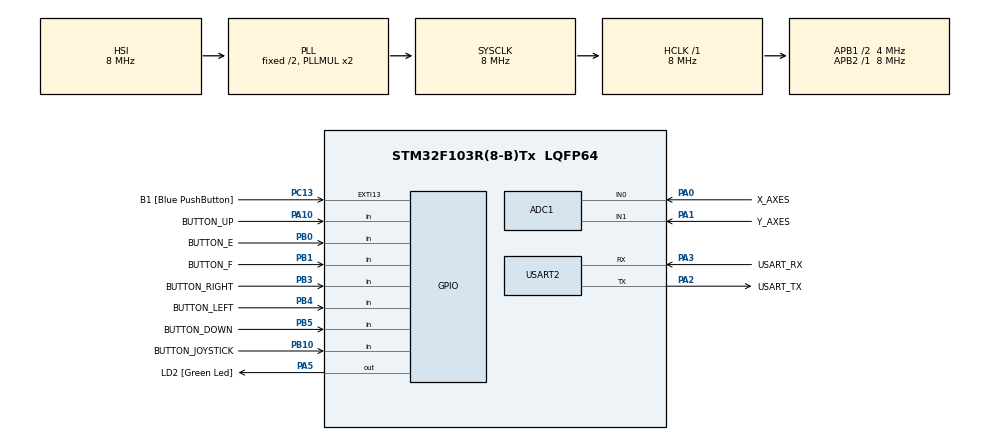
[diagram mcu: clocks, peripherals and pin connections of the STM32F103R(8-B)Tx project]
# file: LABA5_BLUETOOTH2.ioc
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ADC1.Channel-3\#ChannelRegularConversion=ADC_CHANNEL_0
ADC1.NbrOfConversionFlag=1
ADC1.Rank-3\#ChannelRegularConversion=1
ADC1.SamplingTime-3\#ChannelRegularConversion=ADC_SAMPLETIME_1CYCLE_5
ADC1.master=1
Dma.ADC1.1.Direction=DMA_PERIPH_TO_MEMORY
Dma.ADC1.1.Instance=DMA1_Channel1
Dma.ADC1.1.MemDataAlignment=DMA_MDATAALIGN_HALFWORD
Dma.ADC1.1.MemInc=DMA_MINC_ENABLE
Dma.ADC1.1.Mode=DMA_NORMAL
Dma.ADC1.1.PeriphDataAlignment=DMA_PDATAALIGN_HALFWORD
Dma.ADC1.1.PeriphInc=DMA_PINC_DISABLE
Dma.ADC1.1.Priority=DMA_PRIORITY_LOW
Dma.Request0=USART2_TX
Dma.Request1=ADC1
Dma.USART2_TX.0.Direction=DMA_MEMORY_TO_PERIPH
Dma.USART2_TX.0.Instance=DMA1_Channel7
Dma.USART2_TX.0.MemDataAlignment=DMA_MDATAALIGN_BYTE
Dma.USART2_TX.0.MemInc=DMA_MINC_ENABLE
Dma.USART2_TX.0.Mode=DMA_NORMAL
Dma.USART2_TX.0.PeriphDataAlignment=DMA_PDATAALIGN_BYTE
Dma.USART2_TX.0.PeriphInc=DMA_PINC_DISABLE
Dma.USART2_TX.0.Priority=DMA_PRIORITY_LOW
Mcu.Family=STM32F1
Mcu.Name=STM32F103R(8-B)Tx
Mcu.Package=LQFP64
NVIC.ADC1_2_IRQn=true\:0\:0\:false\:false\:true\:true\:true\:true
NVIC.DMA1_Channel1_IRQn=true\:0\:0\:false\:false\:true\:false\:true\:true
NVIC.DMA1_Channel7_IRQn=true\:0\:0\:false\:false\:true\:false\:true\:true
NVIC.EXTI15_10_IRQn=true\:0\:0\:false\:false\:true\:true\:true\:true
NVIC.PriorityGroup=NVIC_PRIORITYGROUP_4
NVIC.USART2_IRQn=true\:0\:0\:false\:false\:true\:true\:true\:true
PA0-WKUP.GPIO_Label=X_AXES
PA0-WKUP.Signal=ADCx_IN0
PA1.GPIO_Label=Y_AXES
PA1.Signal=ADCx_IN1
PA10.GPIO_Label=BUTTON_UP
PA10.GPIO_PuPd=GPIO_PULLUP
PA10.Signal=GPIO_Input
PA2.GPIO_Label=USART_TX
PA2.GPIO_Mode=GPIO_MODE_AF_PP
PA2.GPIO_PuPd=GPIO_NOPULL
PA2.GPIO_Speed=GPIO_SPEED_FREQ_LOW
PA2.Mode=Asynchronous
PA2.Signal=USART2_TX
PA3.GPIO_Label=USART_RX
PA3.GPIO_Mode=GPIO_MODE_AF_PP
PA3.GPIO_PuPd=GPIO_NOPULL
PA3.GPIO_Speed=GPIO_SPEED_FREQ_LOW
PA3.Mode=Asynchronous
PA3.Signal=USART2_RX
PA5.GPIO_Label=LD2 [Green Led]
PA5.GPIO_ModeDefaultOutputPP=GPIO_MODE_OUTPUT_PP
PA5.GPIO_PuPd=GPIO_NOPULL
PA5.GPIO_Speed=GPIO_SPEED_FREQ_LOW
PA5.Signal=GPIO_Output
PB0.GPIO_Label=BUTTON_E
PB0.GPIO_PuPd=GPIO_PULLUP
PB0.Signal=GPIO_Input
PB1.GPIO_Label=BUTTON_F
PB1.GPIO_PuPd=GPIO_PULLUP
PB1.Signal=GPIO_Input
PB10.GPIO_Label=BUTTON_JOYSTICK
PB10.GPIO_PuPd=GPIO_PULLUP
PB10.Signal=GPIO_Input
PB3.GPIO_Label=BUTTON_RIGHT
PB3.GPIO_PuPd=GPIO_PULLUP
PB3.Signal=GPIO_Input
PB4.GPIO_Label=BUTTON_LEFT
PB4.GPIO_PuPd=GPIO_PULLUP
PB4.Signal=GPIO_Input
PB5.GPIO_Label=BUTTON_DOWN
PB5.GPIO_PuPd=GPIO_PULLUP
PB5.Signal=GPIO_Input
PC13-TAMPER-RTC.GPIO_Label=B1 [Blue PushButton]
PC13-TAMPER-RTC.GPIO_PuPd=GPIO_NOPULL
PC13-TAMPER-RTC.Signal=GPXTI13
ProjectManager.HeapSize=0x200
ProjectManager.StackSize=0x400
ProjectManager.TargetToolchain=MDK-ARM V5.32
RCC.AHBFreq_Value=8000000
RCC.APB1CLKDivider=RCC_HCLK_DIV2
RCC.APB1Freq_Value=4000000
RCC.APB1TimFreq_Value=8000000
RCC.APB2Freq_Value=8000000
RCC.APB2TimFreq_Value=8000000
RCC.HCLKFreq_Value=8000000
RCC.RTCClockSelection=RCC_RTCCLKSOURCE_LSE
RCC.SYSCLKFreq_VALUE=8000000
RCC.SYSCLKSource=RCC_SYSCLKSOURCE_PLLCLK
RCC.USBFreq_Value=8000000
SH.ADCx_IN0.0=ADC1_IN0,IN0
SH.ADCx_IN1.0=ADC1_IN1,IN1
TIM2.Period=1632
TIM2.TIM_MasterOutputTrigger=TIM_TRGO_UPDATE
TIM2.TIM_MasterSlaveMode=TIM_MASTERSLAVEMODE_DISABLE
USART2.VirtualMode=VM_ASYNC
VP_SYS_VS_ND.Mode=No_Debug
VP_TIM2_VS_ClockSourceINT.Mode=Internal
board=NUCLEO-F103RB

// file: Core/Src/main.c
/* USER CODE BEGIN Header */
/**
  ******************************************************************************
  * @file           : main.c
  * @brief          : Main program body with DEBUG
  ******************************************************************************
  */
/* USER CODE END Header */
#include "main.h"

/* USER CODE BEGIN Includes */
#include <stdio.h>
#include <string.h>
/* USER CODE END Includes */

/* USER CODE BEGIN PD */
#define DEBUG_ENABLED 1
/* USER CODE END PD */

ADC_HandleTypeDef hadc1;
DMA_HandleTypeDef hdma_adc1;

TIM_HandleTypeDef htim2;

UART_HandleTypeDef huart2;
DMA_HandleTypeDef hdma_usart2_tx;

/* USER CODE BEGIN PV */
uint16_t adc_buffer[2] = {0, 0};
char uart_buf[128];
volatile uint32_t dma_complete_count = 0;
volatile uint32_t loop_count = 0;
volatile uint8_t adc_dma_error = 0;
/* USER CODE END PV */

void SystemClock_Config(void);
static void MX_GPIO_Init(void);
static void MX_DMA_Init(void);
static void MX_USART2_UART_Init(void);
static void MX_ADC1_Init(void);
static void MX_TIM2_Init(void);
/* USER CODE BEGIN PFP */
void Debug_LED_Blink(uint8_t times, uint32_t delay_ms);
void Debug_SendString(const char* str);
void Debug_SendStatus(void);
/* USER CODE END PFP */

/* USER CODE BEGIN 0 */

// ??????? LED ??? ???????
void Debug_LED_Blink(uint8_t times, uint32_t delay_ms)
{
    for(uint8_t i = 0; i < times; i++)
    {
        HAL_GPIO_WritePin(LD2_GPIO_Port, LD2_Pin, GPIO_PIN_SET);
        HAL_Delay(delay_ms);
        HAL_GPIO_WritePin(LD2_GPIO_Port, LD2_Pin, GPIO_PIN_RESET);
        HAL_Delay(delay_ms);
    }
}

// ???????? ?????? ????? UART (???????????)
void Debug_SendString(const char* str)
{
    HAL_UART_Transmit(&huart2, (uint8_t*)str, strlen(str), 500);
}

// ???????? ??????? ???????
void Debug_SendStatus(void)
{
    char buf[200];
    int len = snprintf(buf, sizeof(buf),
        "[DEBUG] Loop:%lu DMA_Done:%lu ADC_Err:%d ADC_State:%d DMA_State:%d RAW_ADC0:%u RAW_ADC1:%u\r\n",
        loop_count,
        dma_complete_count,
        adc_dma_error,
        (int)HAL_ADC_GetState(&hadc1),
        (int)HAL_DMA_GetState(&hdma_adc1),
        adc_buffer[0],
        adc_buffer[1]
    );
    HAL_UART_Transmit(&huart2, (uint8_t*)buf, len, 500);
}

int16_t transform_axe(int v)
{
    int32_t centered = v - 2048;
    int32_t scaled = centered * 100 / 2048;
    return (int16_t)scaled;
}

void Send_Data(void)
{
    int len = snprintf(uart_buf, sizeof(uart_buf),
        "X=%d;Y=%d;E=%d;F=%d;JS=%d;UP=%d;RIGHT=%d;LEFT=%d;DOWN=%d\r\n",
        transform_axe(adc_buffer[0]),
        transform_axe(adc_buffer[1]),
        HAL_GPIO_ReadPin(GPIOB, BUTTON_E_Pin) == GPIO_PIN_RESET ? 1 : 0,
        HAL_GPIO_ReadPin(GPIOB, BUTTON_F_Pin) == GPIO_PIN_RESET ? 1 : 0,
        HAL_GPIO_ReadPin(GPIOB, BUTTON_JOYSTICK_Pin) == GPIO_PIN_RESET ? 1 : 0,
        HAL_GPIO_ReadPin(GPIOA, BUTTON_UP_Pin) == GPIO_PIN_RESET ? 1 : 0,
        HAL_GPIO_ReadPin(GPIOB, BUTTON_RIGHT_Pin) == GPIO_PIN_RESET ? 1 : 0,
        HAL_GPIO_ReadPin(GPIOB, BUTTON_LEFT_Pin) == GPIO_PIN_RESET ? 1 : 0,
        HAL_GPIO_ReadPin(GPIOB, BUTTON_DOWN_Pin) == GPIO_PIN_RESET ? 1 : 0
    );

    HAL_StatusTypeDef status = HAL_UART_Transmit(&huart2, (uint8_t*)uart_buf, len, 100);

    // ???? UART ?????? ?????? - ??????? ???????
    if(status != HAL_OK)
    {
        Debug_LED_Blink(10, 50);
    }
}

// Callback ????? DMA ???????? ???????? (???????? ??????)
void HAL_ADC_ConvHalfCpltCallback(ADC_HandleTypeDef* hadc)
{
    // ?? ??????????, ?? ????? ???????? ???????
}

// Callback ????? DMA ???????? ?????? ????????
void HAL_ADC_ConvCpltCallback(ADC_HandleTypeDef* hadc)
{
    if(hadc->Instance == ADC1)
    {
        dma_complete_count++;
    }
}

// Callback ??? ?????? ADC
void HAL_ADC_ErrorCallback(ADC_HandleTypeDef *hadc)
{
    adc_dma_error = 1;
}

/* USER CODE END 0 */

int main(void)
{
  /* USER CODE BEGIN 1 */
  HAL_StatusTypeDef status;
  /* USER CODE END 1 */

  /* MCU Configuration--------------------------------------------------------*/

  /* Reset of all peripherals, Initializes the Flash interface and the Systick. */
  HAL_Init();

  /* Configure the system clock */
  SystemClock_Config();

  /* Initialize all configured peripherals */
  MX_GPIO_Init();
  MX_DMA_Init();
  MX_USART2_UART_Init();

  /* USER CODE BEGIN 2 */
  // === ???? 1: ??????? ????????????? ?????? ===
  Debug_LED_Blink(2, 200);  // 2 ??????? = GPIO + DMA + UART ??????

  Debug_SendString("\r\n\r\n");
  Debug_SendString("================================\r\n");
  Debug_SendString("=== STM32 GAMEPAD CONTROLLER ===\r\n");
  Debug_SendString("================================\r\n");
  Debug_SendString("[BOOT] GPIO Init: OK\r\n");
  Debug_SendString("[BOOT] DMA Init: OK\r\n");
  Debug_SendString("[BOOT] UART Init: OK\r\n");

  /* USER CODE END 2 */

  MX_ADC1_Init();

  /* USER CODE BEGIN 2.5 */
  Debug_SendString("[BOOT] ADC1 Init: OK\r\n");

  MX_TIM2_Init();
  Debug_SendString("[BOOT] TIM2 Init: OK\r\n");

  // === ???? 2: ?????????? ADC ===
  Debug_SendString("[BOOT] Starting ADC calibration...\r\n");
  status = HAL_ADCEx_Calibration_Start(&hadc1);
  if(status != HAL_OK)
  {
      Debug_SendString("[ERROR] ADC Calibration FAILED!\r\n");
      Debug_LED_Blink(20, 100);  // ????? ??????? ??????? = ??????
  }
  else
  {
      Debug_SendString("[BOOT] ADC Calibration: OK\r\n");
  }

  // === ???? 3: ?????? ADC ? DMA ===
  Debug_SendString("[BOOT] Starting ADC DMA...\r\n");

  // ???????? ????????? DMA ????? ????????
  char dbg[100];
  snprintf(dbg, sizeof(dbg), "[DEBUG] DMA State before start: %d\r\n",
           (int)HAL_DMA_GetState(&hdma_adc1));
  Debug_SendString(dbg);

  status = HAL_ADC_Start_DMA(&hadc1, (uint32_t*)adc_buffer, 2);
  if(status != HAL_OK)
  {
      snprintf(dbg, sizeof(dbg), "[ERROR] ADC DMA Start FAILED! Status=%d\r\n", (int)status);
      Debug_SendString(dbg);
      Debug_LED_Blink(30, 50);  // ????? ????? ??????? ??????? = ??????????? ??????
  }
  else
  {
      Debug_SendString("[BOOT] ADC DMA: STARTED OK\r\n");
  }

  Debug_LED_Blink(3, 100);  // 3 ???????? ??????? = ??? ????????????????

  Debug_SendString("[BOOT] Waiting 500ms for ADC to collect data...\r\n");
  HAL_Delay(500);  // ????? ????? ADC ??????? ??????

  // ????????, ???? ?? ??????
  snprintf(dbg, sizeof(dbg), "[TEST] ADC Buffer: [0]=%u [1]=%u\r\n",
           adc_buffer[0], adc_buffer[1]);
  Debug_SendString(dbg);

  snprintf(dbg, sizeof(dbg), "[TEST] DMA Complete count: %lu\r\n", dma_complete_count);
  Debug_SendString(dbg);

  Debug_SendString("[BOOT] Entering main loop...\r\n");
  Debug_SendString("================================\r\n\r\n");
  /* USER CODE END 2.5 */

  /* Infinite loop */
  /* USER CODE BEGIN WHILE */
  while (1)
  {
    loop_count++;

    // ?????? 50 ???????? (???????? ??? ? ???????) ?????? LED
    if(loop_count % 50 == 0)
    {
        HAL_GPIO_TogglePin(LD2_GPIO_Port, LD2_Pin);
    }

    // ?????? 100 ???????? ?????????? ?????????? ??????????
    #if DEBUG_ENABLED
    if(loop_count % 100 == 0)
    {
        Debug_SendStatus();
    }
    #endif

    // ?????????? ???????? ??????
    Send_Data();

    HAL_Delay(20);
    /* USER CODE END WHILE */

  }
}

void SystemClock_Config(void)
{
  RCC_OscInitTypeDef RCC_OscInitStruct = {0};
  RCC_ClkInitTypeDef RCC_ClkInitStruct = {0};
  RCC_PeriphCLKInitTypeDef PeriphClkInit = {0};

  /** Initializes the RCC Oscillators according to the specified parameters
  * in the RCC_OscInitTypeDef structure.
  */
  RCC_OscInitStruct.OscillatorType = RCC_OSCILLATORTYPE_HSI;
  RCC_OscInitStruct.HSIState = RCC_HSI_ON;
  RCC_OscInitStruct.HSICalibrationValue = RCC_HSICALIBRATION_DEFAULT;
  RCC_OscInitStruct.PLL.PLLState = RCC_PLL_ON;
  RCC_OscInitStruct.PLL.PLLSource = RCC_PLLSOURCE_HSI_DIV2;
  RCC_OscInitStruct.PLL.PLLMUL = RCC_PLL_MUL2;
  if (HAL_RCC_OscConfig(&RCC_OscInitStruct) != HAL_OK)
  {
    Error_Handler();
  }

  /** Initializes the CPU, AHB and APB buses clocks
  */
  RCC_ClkInitStruct.ClockType = RCC_CLOCKTYPE_HCLK|RCC_CLOCKTYPE_SYSCLK
                              |RCC_CLOCKTYPE_PCLK1|RCC_CLOCKTYPE_PCLK2;
  RCC_ClkInitStruct.SYSCLKSource = RCC_SYSCLKSOURCE_PLLCLK;
  RCC_ClkInitStruct.AHBCLKDivider = RCC_SYSCLK_DIV1;
  RCC_ClkInitStruct.APB1CLKDivider = RCC_HCLK_DIV2;
  RCC_ClkInitStruct.APB2CLKDivider = RCC_HCLK_DIV1;

  if (HAL_RCC_ClockConfig(&RCC_ClkInitStruct, FLASH_LATENCY_0) != HAL_OK)
  {
    Error_Handler();
  }
  PeriphClkInit.PeriphClockSelection = RCC_PERIPHCLK_ADC;
  PeriphClkInit.AdcClockSelection = RCC_ADCPCLK2_DIV2;
  if (HAL_RCCEx_PeriphCLKConfig(&PeriphClkInit) != HAL_OK)
  {
    Error_Handler();
  }
}

static void MX_ADC1_Init(void)
{

  /* USER CODE BEGIN ADC1_Init 0 */
  // ?????: ??????? ??????????? DMA, ????? ADC!
  hdma_adc1.Instance = DMA1_Channel1;
  hdma_adc1.Init.Direction = DMA_PERIPH_TO_MEMORY;
  hdma_adc1.Init.PeriphInc = DMA_PINC_DISABLE;
  hdma_adc1.Init.MemInc = DMA_MINC_ENABLE;
  hdma_adc1.Init.PeriphDataAlignment = DMA_PDATAALIGN_HALFWORD;
  hdma_adc1.Init.MemDataAlignment = DMA_MDATAALIGN_HALFWORD;
  hdma_adc1.Init.Mode = DMA_CIRCULAR;
  hdma_adc1.Init.Priority = DMA_PRIORITY_HIGH;
  if (HAL_DMA_Init(&hdma_adc1) != HAL_OK)
  {
    Error_Handler();
  }
  /* USER CODE END ADC1_Init 0 */

  ADC_ChannelConfTypeDef sConfig = {0};

  /** Common config
  */
  hadc1.Instance = ADC1;
  hadc1.Init.ScanConvMode = ADC_SCAN_ENABLE;
  hadc1.Init.ContinuousConvMode = ENABLE;
  hadc1.Init.DiscontinuousConvMode = DISABLE;
  hadc1.Init.ExternalTrigConv = ADC_SOFTWARE_START;
  hadc1.Init.DataAlign = ADC_DATAALIGN_RIGHT;
  hadc1.Init.NbrOfConversion = 2;
  if (HAL_ADC_Init(&hadc1) != HAL_OK)
  {
    Error_Handler();
  }

  /* USER CODE BEGIN ADC1_Init 1.5 */
  // ????????? DMA ? ADC ????? ????????????? ADC
  __HAL_LINKDMA(&hadc1, DMA_Handle, hdma_adc1);
  /* USER CODE END ADC1_Init 1.5 */

  /** Configure Regular Channel
  */
  sConfig.Channel = ADC_CHANNEL_0;
  sConfig.Rank = ADC_REGULAR_RANK_1;
  sConfig.SamplingTime = ADC_SAMPLETIME_239CYCLES_5;
  if (HAL_ADC_ConfigChannel(&hadc1, &sConfig) != HAL_OK)
  {
    Error_Handler();
  }

  /** Configure Regular Channel
  */
  sConfig.Channel = ADC_CHANNEL_1;
  sConfig.Rank = ADC_REGULAR_RANK_2;
  sConfig.SamplingTime = ADC_SAMPLETIME_239CYCLES_5;
  if (HAL_ADC_ConfigChannel(&hadc1, &sConfig) != HAL_OK)
  {
    Error_Handler();
  }

}

static void MX_TIM2_Init(void)
{

  TIM_ClockConfigTypeDef sClockSourceConfig = {0};
  TIM_MasterConfigTypeDef sMasterConfig = {0};

  htim2.Instance = TIM2;
  htim2.Init.Prescaler = 0;
  htim2.Init.CounterMode = TIM_COUNTERMODE_UP;
  htim2.Init.Period = 1632;
  htim2.Init.ClockDivision = TIM_CLOCKDIVISION_DIV1;
  htim2.Init.AutoReloadPreload = TIM_AUTORELOAD_PRELOAD_DISABLE;
  if (HAL_TIM_Base_Init(&htim2) != HAL_OK)
  {
    Error_Handler();
  }
  sClockSourceConfig.ClockSource = TIM_CLOCKSOURCE_INTERNAL;
  if (HAL_TIM_ConfigClockSource(&htim2, &sClockSourceConfig) != HAL_OK)
  {
    Error_Handler();
  }
  sMasterConfig.MasterOutputTrigger = TIM_TRGO_UPDATE;
  sMasterConfig.MasterSlaveMode = TIM_MASTERSLAVEMODE_DISABLE;
  if (HAL_TIMEx_MasterConfigSynchronization(&htim2, &sMasterConfig) != HAL_OK)
  {
    Error_Handler();
  }

}

static void MX_USART2_UART_Init(void)
{

  huart2.Instance = USART2;
  huart2.Init.BaudRate = 115200;
  huart2.Init.WordLength = UART_WORDLENGTH_8B;
  huart2.Init.StopBits = UART_STOPBITS_1;
  huart2.Init.Parity = UART_PARITY_NONE;
  huart2.Init.Mode = UART_MODE_TX_RX;
  huart2.Init.HwFlowCtl = UART_HWCONTROL_NONE;
  huart2.Init.OverSampling = UART_OVERSAMPLING_16;
  if (HAL_UART_Init(&huart2) != HAL_OK)
  {
    Error_Handler();
  }

}

static void MX_DMA_Init(void)
{

  /* DMA controller clock enable */
  __HAL_RCC_DMA1_CLK_ENABLE();

  /* DMA interrupt init */
  /* DMA1_Channel1_IRQn interrupt configuration */
  HAL_NVIC_SetPriority(DMA1_Channel1_IRQn, 0, 0);
  HAL_NVIC_EnableIRQ(DMA1_Channel1_IRQn);
  /* DMA1_Channel7_IRQn interrupt configuration */
  HAL_NVIC_SetPriority(DMA1_Channel7_IRQn, 0, 0);
  HAL_NVIC_EnableIRQ(DMA1_Channel7_IRQn);

}

static void MX_GPIO_Init(void)
{
  GPIO_InitTypeDef GPIO_InitStruct = {0};

  /* GPIO Ports Clock Enable */
  __HAL_RCC_GPIOC_CLK_ENABLE();
  __HAL_RCC_GPIOA_CLK_ENABLE();
  __HAL_RCC_GPIOB_CLK_ENABLE();

  /*Configure GPIO pin Output Level */
  HAL_GPIO_WritePin(LD2_GPIO_Port, LD2_Pin, GPIO_PIN_RESET);

  /*Configure GPIO pin : B1_Pin */
  GPIO_InitStruct.Pin = B1_Pin;
  GPIO_InitStruct.Mode = GPIO_MODE_IT_RISING;
  GPIO_InitStruct.Pull = GPIO_NOPULL;
  HAL_GPIO_Init(B1_GPIO_Port, &GPIO_InitStruct);

  /*Configure GPIO pin : LD2_Pin */
  GPIO_InitStruct.Pin = LD2_Pin;
  GPIO_InitStruct.Mode = GPIO_MODE_OUTPUT_PP;
  GPIO_InitStruct.Pull = GPIO_NOPULL;
  GPIO_InitStruct.Speed = GPIO_SPEED_FREQ_LOW;
  HAL_GPIO_Init(LD2_GPIO_Port, &GPIO_InitStruct);

  /*Configure GPIO pins : BUTTON_E_Pin BUTTON_F_Pin BUTTON_JOYSTICK_Pin BUTTON_RIGHT_Pin
                           BUTTON_LEFT_Pin BUTTON_DOWN_Pin */
  GPIO_InitStruct.Pin = BUTTON_E_Pin|BUTTON_F_Pin|BUTTON_JOYSTICK_Pin|BUTTON_RIGHT_Pin
                          |BUTTON_LEFT_Pin|BUTTON_DOWN_Pin;
  GPIO_InitStruct.Mode = GPIO_MODE_INPUT;
  GPIO_InitStruct.Pull = GPIO_PULLUP;
  HAL_GPIO_Init(GPIOB, &GPIO_InitStruct);

  /*Configure GPIO pin : BUTTON_UP_Pin */
  GPIO_InitStruct.Pin = BUTTON_UP_Pin;
  GPIO_InitStruct.Mode = GPIO_MODE_INPUT;
  GPIO_InitStruct.Pull = GPIO_PULLUP;
  HAL_GPIO_Init(BUTTON_UP_GPIO_Port, &GPIO_InitStruct);

  /* EXTI interrupt init*/
  HAL_NVIC_SetPriority(EXTI15_10_IRQn, 0, 0);
  HAL_NVIC_EnableIRQ(EXTI15_10_IRQn);

}

void Error_Handler(void)
{
  /* USER CODE BEGIN Error_Handler_Debug */
  /* ??????? ??????? ??? Error_Handler - ????? ??????? ??????? */
  __disable_irq();
  while (1)
  {
    HAL_GPIO_TogglePin(LD2_GPIO_Port, LD2_Pin);
    // ??????????? ???????? ??? HAL (?.?. ?????????? ?????????)
    for(volatile uint32_t i = 0; i < 100000; i++);
  }
  /* USER CODE END Error_Handler_Debug */
}
